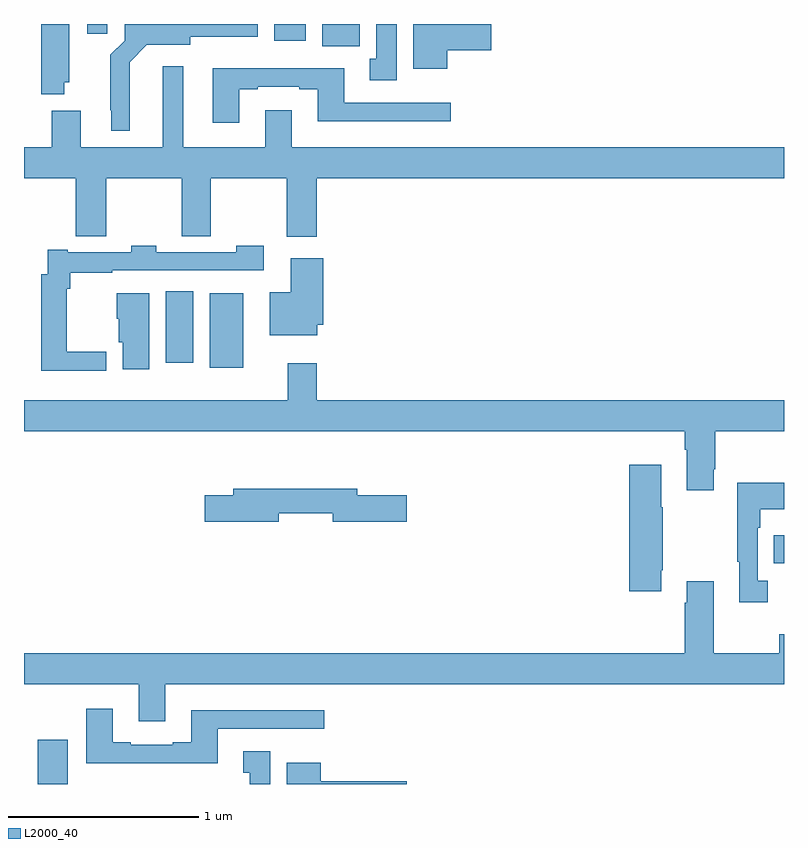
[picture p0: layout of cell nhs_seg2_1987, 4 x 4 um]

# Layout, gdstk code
import gdstk
lib = gdstk.Library(unit=1e-6, precision=1e-09)
def R(c, l, rs):  # rectangles x0, y0, x1, y1
    for r in rs: c.add(gdstk.rectangle(r[:2], r[2:], *l))
def P(c, l, *ps):  # polygons
    for p in ps: c.add(gdstk.Polygon(p, *l))
L2000_40 = (2000, 40)

nhs_seg2_1987 = lib.new_cell('nhs_seg2_1987')
R(nhs_seg2_1987, L2000_40, [(215.072,625.8,215.23,626.032), (218.947,626.962,219,627.109), (215.978,627.992,216.154,628.384), (215.747,628.017,215.89,628.393), (216.569,629.684,216.766,629.8), (216.317,629.712,216.484,629.8), (215.333,629.748,215.437,629.8)])
P(nhs_seg2_1987, L2000_40, [(215.212,629.493),(215.239,629.493),(215.239,629.8),(215.09,629.8),(215.09,629.429),(215.212,629.429)],
  [(215.557,629.6),(215.646,629.69),(215.875,629.69),(215.875,629.732),(216.229,629.732),(216.229,629.8),(215.529,629.8),(215.529,629.712),(215.455,629.638),(215.455,629.347),(215.459,629.347),(215.459,629.237),(215.557,629.237)],
  [(216.961,629.8),(216.854,629.8),(216.854,629.618),(216.821,629.618),(216.821,629.505),(216.961,629.505)],
  [(217.228,629.663),(217.459,629.663),(217.459,629.8),(217.049,629.8),(217.049,629.564),(217.228,629.564)],
  [(216.542,628.988),(219,628.988),(219,629.152),(216.409,629.152),(216.409,629.347),(216.269,629.347),(216.269,629.152),(215.839,629.152),(215.839,629.578),(215.729,629.578),(215.729,629.152),(215.299,629.152),(215.299,629.344),(215.147,629.344),(215.147,629.152),(215,629.152),(215,628.988),(215.273,628.988),(215.273,628.684),(215.432,628.684),(215.432,628.988),(215.83,628.988),(215.83,628.684),(215.984,628.684),(215.984,628.988),(216.382,628.988),(216.382,628.68),(216.542,628.68)],
  [(216.133,629.457),(216.229,629.457),(216.229,629.469),(216.449,629.469),(216.449,629.457),(216.545,629.457),(216.545,629.288),(217.246,629.288),(217.246,629.385),(216.685,629.385),(216.685,629.566),(215.993,629.566),(215.993,629.28),(216.133,629.28)],
  [(215.434,628.076),(215.224,628.076),(215.224,628.406),(215.243,628.406),(215.243,628.491),(215.465,628.491),(215.465,628.503),(216.262,628.503),(216.262,628.632),(216.117,628.632),(216.117,628.599),(215.697,628.599),(215.697,628.632),(215.565,628.632),(215.565,628.599),(215.23,628.599),(215.23,628.612),(215.126,628.612),(215.126,628.483),(215.09,628.483),(215.09,627.974),(215.434,627.974)],
  [(216.544,628.218),(216.575,628.218),(216.575,628.567),(216.404,628.567),(216.404,628.387),(216.293,628.387),(216.293,628.163),(216.544,628.163)],
  [(215.659,628.384),(215.489,628.384),(215.489,628.248),(215.498,628.248),(215.498,628.125),(215.519,628.125),(215.519,627.984),(215.659,627.984)],
  [(218.629,627.457),(218.637,627.457),(218.637,627.656),(219,627.656),(219,627.82),(216.542,627.82),(216.542,628.015),(216.389,628.015),(216.389,627.82),(215,627.82),(215,627.656),(218.477,627.656),(218.477,627.56),(218.489,627.56),(218.489,627.345),(218.629,627.345)],
  [(218.353,626.926),(218.361,626.926),(218.361,627.257),(218.353,627.257),(218.353,627.481),(218.186,627.481),(218.186,626.814),(218.353,626.814)],
  [(218.914,626.87),(218.862,626.87),(218.862,627.149),(218.875,627.149),(218.875,627.245),(219,627.245),(219,627.385),(218.754,627.385),(218.754,626.969),(218.765,626.969),(218.765,626.757),(218.914,626.757)],
  [(216.34,627.226),(216.626,627.226),(216.626,627.179),(217.015,627.179),(217.015,627.321),(216.754,627.321),(216.754,627.355),(216.101,627.355),(216.101,627.321),(215.952,627.321),(215.952,627.179),(216.34,627.179)],
  [(215.743,626.324),(219,626.324),(219,626.587),(218.974,626.587),(218.974,626.488),(218.629,626.488),(218.629,626.866),(218.489,626.866),(218.489,626.753),(218.477,626.753),(218.477,626.488),(215,626.488),(215,626.324),(215.603,626.324),(215.603,626.13),(215.743,626.13)],
  [(216.019,626.091),(216.58,626.091),(216.58,626.188),(215.879,626.188),(215.879,626.02),(215.783,626.02),(215.783,626.007),(215.563,626.007),(215.563,626.02),(215.467,626.02),(215.467,626.197),(215.327,626.197),(215.327,625.91),(216.019,625.91)],
  [(216.295,625.972),(216.155,625.972),(216.155,625.859),(216.188,625.859),(216.188,625.8),(216.295,625.8)],
  [(217.015,625.814),(216.562,625.814),(216.562,625.912),(216.383,625.912),(216.383,625.8),(217.015,625.8)])

lib.write_gds('nhs_seg2_1987.gds')
